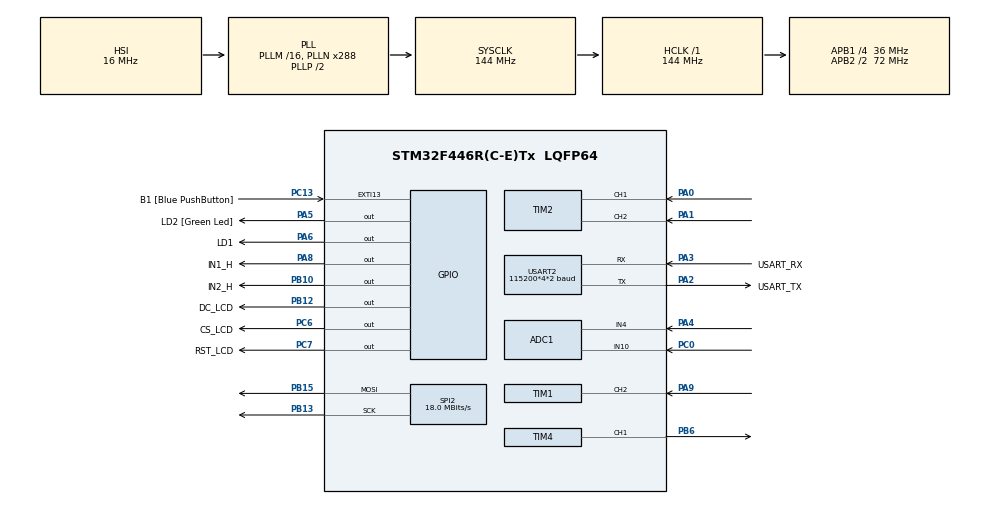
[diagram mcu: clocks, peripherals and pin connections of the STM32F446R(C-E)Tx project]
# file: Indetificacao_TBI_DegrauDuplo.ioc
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ADC1.Channel-0\#ChannelRegularConversion=ADC_CHANNEL_4
ADC1.Channel-1\#ChannelRegularConversion=ADC_CHANNEL_10
ADC1.ContinuousConvMode=ENABLE
ADC1.DMAContinuousRequests=DISABLE
ADC1.DiscontinuousConvMode=DISABLE
ADC1.EOCSelection=ADC_EOC_SEQ_CONV
ADC1.ExternalTrigConv=ADC_EXTERNALTRIGCONV_T3_TRGO
ADC1.InjNumberOfConversion=0
ADC1.NbrOfConversion=2
ADC1.NbrOfConversionFlag=1
ADC1.Rank-0\#ChannelRegularConversion=1
ADC1.Rank-1\#ChannelRegularConversion=2
ADC1.SamplingTime-0\#ChannelRegularConversion=ADC_SAMPLETIME_15CYCLES
ADC1.SamplingTime-1\#ChannelRegularConversion=ADC_SAMPLETIME_15CYCLES
ADC1.ScanConvMode=ENABLE
ADC1.master=1
Dma.ADC1.1.Direction=DMA_PERIPH_TO_MEMORY
Dma.ADC1.1.FIFOMode=DMA_FIFOMODE_DISABLE
Dma.ADC1.1.Instance=DMA2_Stream0
Dma.ADC1.1.MemDataAlignment=DMA_MDATAALIGN_WORD
Dma.ADC1.1.MemInc=DMA_MINC_ENABLE
Dma.ADC1.1.Mode=DMA_NORMAL
Dma.ADC1.1.PeriphDataAlignment=DMA_PDATAALIGN_WORD
Dma.ADC1.1.PeriphInc=DMA_PINC_DISABLE
Dma.ADC1.1.Priority=DMA_PRIORITY_VERY_HIGH
Dma.Request0=USART2_TX
Dma.Request1=ADC1
Dma.USART2_TX.0.Direction=DMA_MEMORY_TO_PERIPH
Dma.USART2_TX.0.FIFOMode=DMA_FIFOMODE_DISABLE
Dma.USART2_TX.0.Instance=DMA1_Stream6
Dma.USART2_TX.0.MemDataAlignment=DMA_MDATAALIGN_BYTE
Dma.USART2_TX.0.MemInc=DMA_MINC_ENABLE
Dma.USART2_TX.0.Mode=DMA_CIRCULAR
Dma.USART2_TX.0.PeriphDataAlignment=DMA_PDATAALIGN_BYTE
Dma.USART2_TX.0.PeriphInc=DMA_PINC_DISABLE
Dma.USART2_TX.0.Priority=DMA_PRIORITY_LOW
Mcu.Family=STM32F4
Mcu.Name=STM32F446R(C-E)Tx
Mcu.Package=LQFP64
NVIC.DMA1_Stream6_IRQn=true\:0\:0\:false\:false\:true\:false\:true\:true
NVIC.DMA2_Stream0_IRQn=true\:0\:0\:false\:false\:true\:false\:true\:true
NVIC.PriorityGroup=NVIC_PRIORITYGROUP_0
NVIC.TIM1_CC_IRQn=true\:0\:0\:false\:false\:true\:true\:true\:true
NVIC.TIM3_IRQn=true\:0\:0\:false\:false\:true\:true\:true\:true
NVIC.USART2_IRQn=true\:0\:0\:false\:false\:true\:true\:true\:true
PA0-WKUP.Signal=S_TIM2_CH1_ETR
PA1.Signal=S_TIM2_CH2
PA13.GPIO_Label=TMS
PA13.Mode=Serial_Wire
PA13.Signal=SYS_JTMS-SWDIO
PA14.GPIO_Label=TCK
PA14.Mode=Serial_Wire
PA14.Signal=SYS_JTCK-SWCLK
PA2.GPIO_Label=USART_TX
PA2.Mode=Asynchronous
PA2.Signal=USART2_TX
PA3.GPIO_Label=USART_RX
PA3.Mode=Asynchronous
PA3.Signal=USART2_RX
PA4.Signal=ADCx_IN4
PA5.GPIO_Label=LD2 [Green Led]
PA5.Signal=GPIO_Output
PA6.GPIO_Label=LD1
PA6.Signal=GPIO_Output
PA8.GPIO_Label=IN1_H
PA8.Signal=GPIO_Output
PA9.Signal=S_TIM1_CH2
PB10.GPIO_Label=IN2_H
PB10.Signal=GPIO_Output
PB12.GPIO_Label=DC_LCD
PB12.Signal=GPIO_Output
PB13.Mode=TX_Only_Simplex_Unidirect_Master
PB13.Signal=SPI2_SCK
PB14.Signal=SPI2_MISO
PB15.Mode=TX_Only_Simplex_Unidirect_Master
PB15.Signal=SPI2_MOSI
PB3.GPIO_Label=SWO
PB3.Signal=SYS_JTDO-SWO
PB6.Signal=S_TIM4_CH1
PC0.Signal=ADCx_IN10
PC13.GPIO_Label=B1 [Blue PushButton]
PC13.GPIO_ModeDefaultEXTI=GPIO_MODE_IT_FALLING
PC13.Signal=GPXTI13
PC14-OSC32_IN.Mode=LSE-External-Oscillator
PC14-OSC32_IN.Signal=RCC_OSC32_IN
PC15-OSC32_OUT.Mode=LSE-External-Oscillator
PC15-OSC32_OUT.Signal=RCC_OSC32_OUT
PC6.GPIO_Label=CS_LCD
PC6.Signal=GPIO_Output
PC7.GPIO_Label=RST_LCD
PC7.Signal=GPIO_Output
PH0-OSC_IN.Mode=HSE-External-Oscillator
PH0-OSC_IN.Signal=RCC_OSC_IN
PH1-OSC_OUT.Mode=HSE-External-Oscillator
PH1-OSC_OUT.Signal=RCC_OSC_OUT
ProjectManager.HeapSize=0x200
ProjectManager.StackSize=0x400
ProjectManager.TargetToolchain=MDK-ARM V5
RCC.48MHZClocksFreq_Value=84000000
RCC.AHBFreq_Value=144000000
RCC.APB1CLKDivider=RCC_HCLK_DIV4
RCC.APB1Freq_Value=36000000
RCC.APB1TimFreq_Value=72000000
RCC.APB2CLKDivider=RCC_HCLK_DIV2
RCC.APB2Freq_Value=72000000
RCC.APB2TimFreq_Value=144000000
RCC.CortexFreq_Value=144000000
RCC.FLatency-AdvancedSettings=FLASH_LATENCY_4
RCC.HCLKFreq_Value=144000000
RCC.HSE_VALUE=8000000
RCC.HSI_VALUE=16000000
RCC.PLLN=288
RCC.SYSCLKFreq_VALUE=144000000
RCC.SYSCLKSource=RCC_SYSCLKSOURCE_PLLCLK
RCC.USBFreq_Value=144000000
RCC.VCOOutputFreq_Value=288000000
SH.ADCx_IN10.0=ADC1_IN10,IN10
SH.ADCx_IN4.0=ADC1_IN4,IN4
SH.S_TIM1_CH2.0=TIM1_CH2,Input_Capture2_from_TI2
SH.S_TIM2_CH1_ETR.0=TIM2_CH1,Encoder_Interface
SH.S_TIM2_CH2.0=TIM2_CH2,Encoder_Interface
SH.S_TIM4_CH1.0=TIM4_CH1,PWM Generation1 CH1
SPI2.BaudRatePrescaler=SPI_BAUDRATEPRESCALER_2
SPI2.CalculateBaudRate=18.0 MBits/s
SPI2.Direction=SPI_DIRECTION_2LINES
SPI2.Mode=SPI_MODE_MASTER
SPI2.VirtualType=VM_MASTER
TIM1.Channel-Input_Capture2_from_TI2=TIM_CHANNEL_2
TIM1.ICPrescaler-Input_Capture2_from_TI2=TIM_ICPSC_DIV8
TIM1.Period=0xFFFF
TIM1.Prescaler=144-1
TIM2.EncoderMode=TIM_ENCODERMODE_TI12
TIM2.IC1Filter=15
TIM2.IC2Filter=15
TIM3.Period=2500-1
TIM3.Prescaler=144-1
TIM3.TIM_MasterOutputTrigger=TIM_TRGO_UPDATE
TIM4.Channel-PWM\ Generation1\ CH1=TIM_CHANNEL_1
TIM4.Period=120-1
TIM4.Prescaler=612-1
USART2.BaudRate=115200*4*2
USART2.VirtualMode=VM_ASYNC
VP_TIM1_VS_ClockSourceINT.Mode=Internal
VP_TIM3_VS_ClockSourceINT.Mode=Internal
board=NUCLEO-F446RE

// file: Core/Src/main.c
/* USER CODE BEGIN Header */
/**
  ******************************************************************************
  * @file           : main.c
  * @brief          : Main program body
  ******************************************************************************
  * @attention
  *
  * Copyright (c) 2022 STMicroelectronics.
  * All rights reserved.
  *
  * This software is licensed under terms that can be found in the LICENSE file
  * in the root directory of this software component.
  * If no LICENSE file comes with this software, it is provided AS-IS.
  *
  ******************************************************************************
  */
/* USER CODE END Header */
#include "main.h"
#include "adc.h"
#include "dma.h"
#include "spi.h"
#include "tim.h"
#include "usart.h"
#include "gpio.h"

/* USER CODE BEGIN Includes */

#include "stdio.h"
#include "string.h"

/* USER CODE END Includes */

/* USER CODE BEGIN PM */

#define LED_ON() HAL_GPIO_WritePin(LD2_GPIO_Port, LD2_Pin, 1)
#define LED_OFF() HAL_GPIO_WritePin(LD2_GPIO_Port, LD2_Pin, 0)
#define LED_TOGGLE() HAL_GPIO_TogglePin(LD2_GPIO_Port, LD2_Pin)

/* USER CODE END PM */

/* USER CODE BEGIN PV */

char TX_buffer[64];

uint8_t start=0,
				teste_pwm,
				pwm_final,
				RAD_S_INT,
				ADC_FILTER_SWITCH = 1;

int16_t error_int;

uint16_t STEP = 0,
				 subcount = 0,
				 RefreshTimerAquisition = 1000,
				 MotorVoltageInt;

uint32_t ADC_RAW[2],
				 encoderCount,
				 Last_encoderCount,
				 counter = 0,
				 SPEED_TIMER = 0;

float RPS = 0,
			RAD_S,
			RAD_S_RAW,
			RAD_S_1,
			rotacoes = 0,
			error,
			error_1,
			setpoint = 0,
      TsEncoder,
      MotorVoltage;

uint8_t Rx_data[10];

float vref = 3.3f,
			divisor = 4.2f;

/* USER CODE END PV */

void SystemClock_Config(void);

/* USER CODE BEGIN 0 */

void itoa(unsigned long val, char* asc);
void uint_to_asc(unsigned long val1, unsigned long val2, unsigned long val3, unsigned long val4,
                 unsigned long val5 ,char *buffer);

void H_dir(uint8_t dir);
void pwm(uint16_t duty);
void sendchar(uint8_t c);
void sendstring(char *string);

/* USER CODE END 0 */

int main(void)
{

  /* MCU Configuration--------------------------------------------------------*/

  /* Reset of all peripherals, Initializes the Flash interface and the Systick. */
  HAL_Init();

  /* Configure the system clock */
  SystemClock_Config();

  /* Initialize all configured peripherals */
  MX_GPIO_Init();
  MX_DMA_Init();
  MX_ADC1_Init();
  MX_TIM1_Init();
  MX_TIM2_Init();
  MX_TIM4_Init();
  MX_USART2_UART_Init();
  MX_TIM3_Init();
  MX_SPI2_Init();
  /* USER CODE BEGIN 2 */

	HAL_Delay(100);

	HAL_TIM_Encoder_Start(&htim2, TIM_CHANNEL_ALL);

	HAL_TIM_PWM_Start(&htim4, TIM_CHANNEL_1);

	HAL_TIM_IC_Start_IT(&htim1,TIM_CHANNEL_2);

	HAL_TIM_Base_Start(&htim3);
	HAL_TIM_Base_Start(&htim1);
	//HAL_ADC_Start_IT(&hadc1);
	HAL_ADC_Start_DMA(&hadc1, ADC_RAW, 2);

	HAL_UART_Receive_IT (&huart2, Rx_data, 4);

	H_dir(1);

	pwm(0);
	STEP = 0;

  /* USER CODE END 2 */

  /* Infinite loop */
  /* USER CODE BEGIN WHILE */
  while (1)
  {
		if(HAL_GPIO_ReadPin(B1_GPIO_Port, B1_Pin) == 0)
		{
		}

		if(HAL_GPIO_ReadPin(B1_GPIO_Port, B1_Pin) == 0)
		{
		}

		if(__HAL_TIM_GET_COUNTER(&htim1) > 5000 - 1)  //freq de controle
		{
			//LED_ON();
			__HAL_TIM_SET_COUNTER(&htim1, 0);
			TsEncoder = RefreshTimerAquisition / 1000000.0f; //calculo do Ts

			encoderCount = __HAL_TIM_GET_COUNTER(&htim2); //le o encoder
			RPS = (encoderCount - Last_encoderCount) / 20.0f; //calcula RPS
			RAD_S = RPS * 6.283185f; //transforma em rad/s

			Last_encoderCount = encoderCount; //guarda a leitura z-1
			rotacoes += RPS * TsEncoder; //aculuma as rotacoes

			pwm_final = teste_pwm * 10;
			pwm(pwm_final); //insere a acao de controle na saida

			RAD_S_INT = RAD_S * 10;
			MotorVoltageInt = MotorVoltage * 10;

			sprintf(TX_buffer, "%u,%u,%u,%u,%u\r\n", counter, RAD_S_INT, pwm_final, MotorVoltageInt, ADC_RAW[1]);
			HAL_UART_Transmit(&huart2, (uint8_t*)TX_buffer, strlen(TX_buffer),4);

			//LED_OFF();
		}
    /* USER CODE END WHILE */

  }
}

void SystemClock_Config(void)
{
  RCC_OscInitTypeDef RCC_OscInitStruct = {0};
  RCC_ClkInitTypeDef RCC_ClkInitStruct = {0};

  /** Configure the main internal regulator output voltage
  */
  __HAL_RCC_PWR_CLK_ENABLE();
  __HAL_PWR_VOLTAGESCALING_CONFIG(PWR_REGULATOR_VOLTAGE_SCALE1);

  /** Initializes the RCC Oscillators according to the specified parameters
  * in the RCC_OscInitTypeDef structure.
  */
  RCC_OscInitStruct.OscillatorType = RCC_OSCILLATORTYPE_HSI;
  RCC_OscInitStruct.HSIState = RCC_HSI_ON;
  RCC_OscInitStruct.HSICalibrationValue = RCC_HSICALIBRATION_DEFAULT;
  RCC_OscInitStruct.PLL.PLLState = RCC_PLL_ON;
  RCC_OscInitStruct.PLL.PLLSource = RCC_PLLSOURCE_HSI;
  RCC_OscInitStruct.PLL.PLLM = 16;
  RCC_OscInitStruct.PLL.PLLN = 288;
  RCC_OscInitStruct.PLL.PLLP = RCC_PLLP_DIV2;
  RCC_OscInitStruct.PLL.PLLQ = 2;
  RCC_OscInitStruct.PLL.PLLR = 2;
  if (HAL_RCC_OscConfig(&RCC_OscInitStruct) != HAL_OK)
  {
    Error_Handler();
  }

  /** Initializes the CPU, AHB and APB buses clocks
  */
  RCC_ClkInitStruct.ClockType = RCC_CLOCKTYPE_HCLK|RCC_CLOCKTYPE_SYSCLK
                              |RCC_CLOCKTYPE_PCLK1|RCC_CLOCKTYPE_PCLK2;
  RCC_ClkInitStruct.SYSCLKSource = RCC_SYSCLKSOURCE_PLLCLK;
  RCC_ClkInitStruct.AHBCLKDivider = RCC_SYSCLK_DIV1;
  RCC_ClkInitStruct.APB1CLKDivider = RCC_HCLK_DIV4;
  RCC_ClkInitStruct.APB2CLKDivider = RCC_HCLK_DIV2;

  if (HAL_RCC_ClockConfig(&RCC_ClkInitStruct, FLASH_LATENCY_4) != HAL_OK)
  {
    Error_Handler();
  }
}

/* USER CODE BEGIN 4 */

void HAL_ADC_ConvCpltCallback(ADC_HandleTypeDef* hadc)
{
	LED_TOGGLE();

//	ADC_RAW[0] = HAL_ADC_GetValue(&hadc1);
//	ADC_RAW[1] = HAL_ADC_GetValue(&hadc1);

	if (pwm_final < 1)
			ADC_RAW[0] = 0;

	//MotorVoltage = ((vref/4095) * ADC_RAW) * divisor;

	HAL_ADC_Start_DMA(&hadc1, ADC_RAW, 2);
}

void HAL_TIM_IC_CaptureCallback(TIM_HandleTypeDef *htim)
{
	//pwm(STEP);
}

void uint_to_asc(unsigned long val1, unsigned long val2, unsigned long val3, unsigned long val4,
                 unsigned long val5, char *buffer)
{
    char bff_aux[10];
    int i = 0;

    itoa(val1, bff_aux);
    for(i=0; i<6;i++)
    {
        buffer[i] = bff_aux[i];
    }
    buffer[6] = ',';

    itoa(val2, bff_aux);
    for(i=7; i<13;i++)
    {
        buffer[i] = bff_aux[i-7];
    }
    buffer[13] = ',';

    itoa(val3, bff_aux);
    for(i=14; i<20;i++)
    {
        buffer[i] = bff_aux[i-14];
    }
    buffer[20] = ',';

    itoa(val4, bff_aux);
    for(i=21; i<27;i++)
    {
        buffer[i] = bff_aux[i-21];
    }
    buffer[27] = ',';

    itoa(val5, bff_aux);
    for(i=28; i<34;i++)
    {
        buffer[i] = bff_aux[i-28];
    }
    buffer[34] = '\r';
    buffer[35] = '\n';
}

void itoa(unsigned long val, char* asc)
{
    asc[5] = val%10 + '0';
    asc[4] = (val/10)%10 + '0';
    asc[3] = (val/100)%10 + '0';
    asc[2] = (val/1000)%10 + '0';
    asc[1] = (val/10000)%10 + '0';
    asc[0] = (val/100000)%10 + '0';
}

void H_dir(uint8_t dir)
{
	if(dir == 0)
	{
		HAL_GPIO_WritePin(IN1_H_GPIO_Port, IN1_H_Pin, GPIO_PIN_RESET);
		HAL_GPIO_WritePin(IN2_H_GPIO_Port, IN2_H_Pin, GPIO_PIN_RESET);
	}

	if(dir == 1)
	{
		HAL_GPIO_WritePin(IN1_H_GPIO_Port, IN1_H_Pin, GPIO_PIN_RESET);
		HAL_GPIO_WritePin(IN2_H_GPIO_Port, IN2_H_Pin, GPIO_PIN_SET);
	}

	if(dir == 2)
	{
		HAL_GPIO_WritePin(IN1_H_GPIO_Port, IN1_H_Pin, GPIO_PIN_SET);
		HAL_GPIO_WritePin(IN2_H_GPIO_Port, IN2_H_Pin, GPIO_PIN_RESET);
	}
}

void pwm(uint16_t duty)
{
	__HAL_TIM_SET_COMPARE(&htim4, TIM_CHANNEL_1, duty);
}

void sendchar(uint8_t c)
{
	while(!(USART2->SR &(1<<6)));
	USART2->DR = c;

}

void sendstring(char *string)
{
	while(*string) sendchar(*string++);
}

void HAL_UART_RxCpltCallback(UART_HandleTypeDef *huart)
{
	if(Rx_data[0] == 's')
	{
		setpoint = ((Rx_data[1] - '0') * 100) + ((Rx_data[2] - '0') * 10) + (Rx_data[3] - '0');
	}
  HAL_UART_Receive_IT(&huart2, Rx_data, 4);
}

/* USER CODE END 4 */

void Error_Handler(void)
{
  __disable_irq();
  while (1)
  {
  }
}
